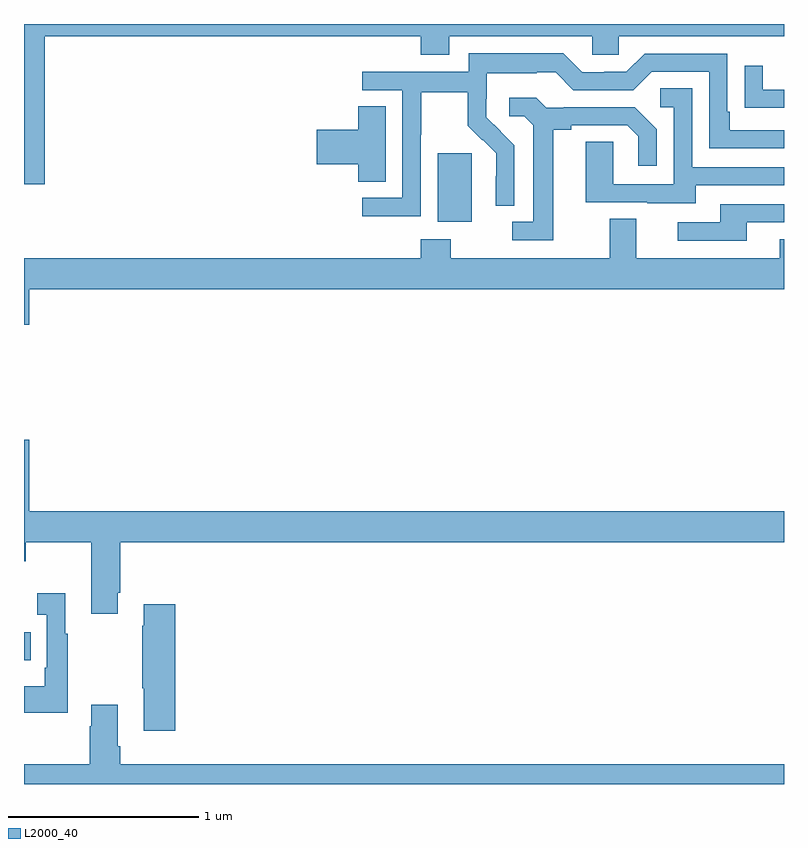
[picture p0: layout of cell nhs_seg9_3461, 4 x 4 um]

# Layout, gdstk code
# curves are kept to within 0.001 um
import gdstk
lib = gdstk.Library(unit=1e-6, precision=1e-09)
def R(c, l, rs):  # rectangles x0, y0, x1, y1
    for r in rs: c.add(gdstk.rectangle(r[:2], r[2:], *l))
def P(c, l, *ps):  # polygons
    for p in ps: c.add(gdstk.Polygon(p, *l))
L2000_40 = (2000, 40)

nhs_seg9_3461 = lib.new_cell('nhs_seg9_3461')
R(nhs_seg9_3461, L2000_40, [(309,1177.151,309.035,1177.299), (311.177,1179.458,311.356,1179.819)])
P(nhs_seg9_3461, L2000_40, [(309.11,1180.436),(311.087,1180.436),(311.087,1180.337),(311.239,1180.337),(311.239,1180.436),(311.991,1180.436),(311.991,1180.338),(312.129,1180.338),(312.129,1180.436),(313,1180.436),(313,1180.5),(309,1180.5),(309,1179.657),(309.11,1179.657)],
  [(311.088,1179.916),(311.091,1179.916),(311.091,1180.14),(311.335,1180.14),(311.335,1179.965),(311.412,1179.888),(311.415,1179.891),(311.486,1179.821),(311.486,1179.698),(311.484,1179.698),(311.484,1179.544),(311.58,1179.544),(311.58,1179.862),(311.434,1180.01),(311.434,1180.107),(311.436,1180.107),(311.436,1180.241),(311.699,1180.241),(311.699,1180.245),(311.799,1180.245),(311.892,1180.152),(312.207,1180.152),(312.303,1180.248),(312.606,1180.248),(312.606,1179.846),(313,1179.846),(313,1179.942),(312.715,1179.942),(312.715,1180.039),(312.702,1180.039),(312.702,1180.344),(312.267,1180.344),(312.171,1180.248),(312.053,1180.248),(312.053,1180.245),(311.937,1180.245),(311.837,1180.345),(311.34,1180.345),(311.34,1180.248),(310.779,1180.248),(310.779,1180.152),(310.992,1180.152),(310.992,1179.585),(310.779,1179.585),(310.779,1179.487),(311.088,1179.487)],
  [(313,1180.155),(312.889,1180.155),(312.889,1180.279),(312.793,1180.279),(312.793,1180.06),(312.895,1180.06),(312.895,1180.059),(313,1180.059)],
  [(312.535,1179.651),(313,1179.651),(313,1179.747),(312.516,1179.747),(312.516,1180.163),(312.348,1180.163),(312.348,1180.062),(312.42,1180.062),(312.42,1179.657),(312.102,1179.657),(312.102,1179.881),(311.957,1179.881),(311.957,1179.561),(312.281,1179.561),(312.281,1179.557),(312.535,1179.557)],
  [(311.785,1179.944),(311.881,1179.944),(311.881,1179.966),(312.176,1179.966),(312.233,1179.909),(312.233,1179.753),(312.33,1179.753),(312.33,1179.946),(312.214,1180.062),(311.842,1180.062),(311.842,1180.059),(311.748,1180.059),(311.696,1180.111),(311.553,1180.111),(311.553,1180.014),(311.634,1180.014),(311.681,1179.967),(311.681,1179.459),(311.571,1179.459),(311.571,1179.363),(311.785,1179.363)],
  [(310.903,1180.067),(310.76,1180.067),(310.76,1179.944),(310.542,1179.944),(310.542,1179.761),(310.76,1179.761),(310.76,1179.67),(310.903,1179.67)],
  [(312.805,1179.456),(313,1179.456),(313,1179.552),(312.665,1179.552),(312.665,1179.456),(312.441,1179.456),(312.441,1179.36),(312.805,1179.36)],
  [(309.028,1179.104),(313,1179.104),(313,1179.367),(312.977,1179.367),(312.977,1179.268),(312.223,1179.268),(312.223,1179.476),(312.083,1179.476),(312.083,1179.268),(311.247,1179.268),(311.247,1179.367),(311.087,1179.367),(311.087,1179.268),(309,1179.268),(309,1178.916),(309.028,1178.916)],
  [(309.493,1177.507),(309.506,1177.507),(309.506,1177.772),(313,1177.772),(313,1177.936),(309.028,1177.936),(309.028,1178.311),(309,1178.311),(309,1177.673),(309.009,1177.673),(309.009,1177.772),(309.353,1177.772),(309.353,1177.395),(309.493,1177.395)],
  [(309.229,1177.291),(309.217,1177.291),(309.217,1177.504),(309.069,1177.504),(309.069,1177.391),(309.12,1177.391),(309.12,1177.111),(309.108,1177.111),(309.108,1177.015),(309,1177.015),(309,1176.875),(309.229,1176.875)],
  [(309.797,1177.447),(309.629,1177.447),(309.629,1177.334),(309.622,1177.334),(309.622,1177.003),(309.629,1177.003),(309.629,1176.78),(309.797,1176.78)],
  [(309.506,1176.7),(309.493,1176.7),(309.493,1176.916),(309.353,1176.916),(309.353,1176.803),(309.346,1176.803),(309.346,1176.604),(309,1176.604),(309,1176.5),(313,1176.5),(313,1176.604),(309.506,1176.604)])

lib.write_gds('nhs_seg9_3461.gds')
